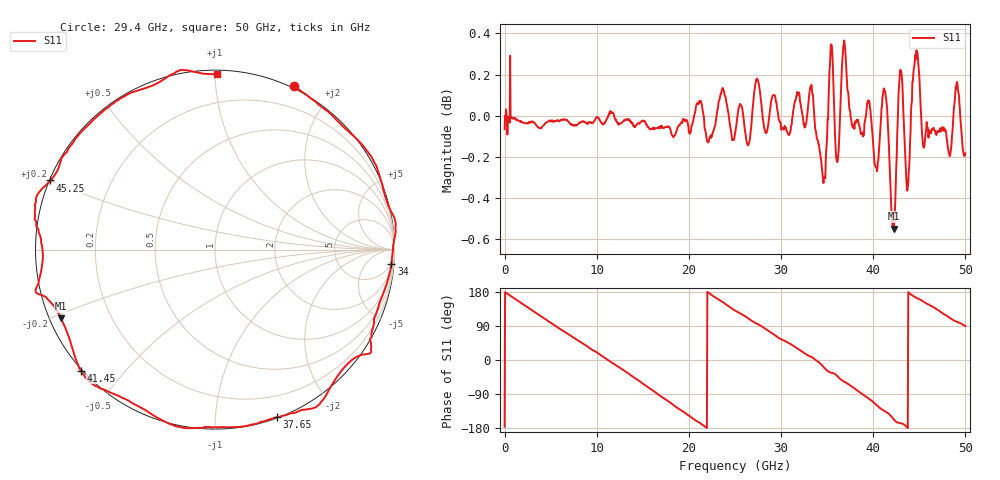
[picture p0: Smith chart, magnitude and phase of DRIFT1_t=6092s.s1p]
!Created with skrf (http://scikit-rf.org).
# Hz S RI R 50.0
!freq ReS11 ImS11
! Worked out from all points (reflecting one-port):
!   1001 points, 300 kHz to 50 GHz, reference 50 ohm
!   lowest |S11| = -0.5 dB at 42.2 GHz (marker M1), VSWR 31.70, Z = 1.65 - j10.6 ohm
!   phase of S11 starts at -176 deg and turns -814 deg over the sweep
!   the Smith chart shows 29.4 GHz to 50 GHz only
!   S11 on the Smith chart (normalised r, x): 29.4 GHz: -0.02, +1.59; 34 GHz: 4, -24; 37.65 GHz: 0.01, -1.44; 41.45 GHz: -0.00, -0.38; 45.25 GHz: 0.00, +0.20; 50 GHz: 0.02, +1.01
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300000  -0.9902 -0.0676
1.550291e9  -0.8991 0.4312
3.30028e9  -0.5812 0.8085
4.800271e9  -0.1999 0.9768
6.250262e9  0.2006 0.9775
9.500243e9  0.8894 0.4478
1.115023e10  0.9987 0.0211
1.250022e10  0.9332 -0.3466
1.580021e10  0.243 -0.9621
1.73502e10  -0.2079 -0.9715
1.875019e10  -0.5937 -0.7961
2.155017e10  -0.9921 -0.1362
2.345016e10  -0.9265 0.4082
2.500015e10  -0.6418 0.7539
2.735014e10  -0.1102 1.014
2.940012e10  0.4374 0.9099
3.125011e10  0.78 0.6252
3.40001e10  0.9831 -0.0781
3.520009e10  0.8692 -0.5271
3.750008e10  0.3897 -0.9239
3.765007e10  0.3456 -0.934
3.950006e10  -0.195 -0.9881
4.145005e10  -0.7477 -0.6741
4.220005e10  -0.8572 -0.3829
4.375004e10  -0.9612 -0.00482
4.525003e10  -0.9169 0.3853
4.770001e10  -0.5059 0.8526
5e10  0.00956 0.9792
